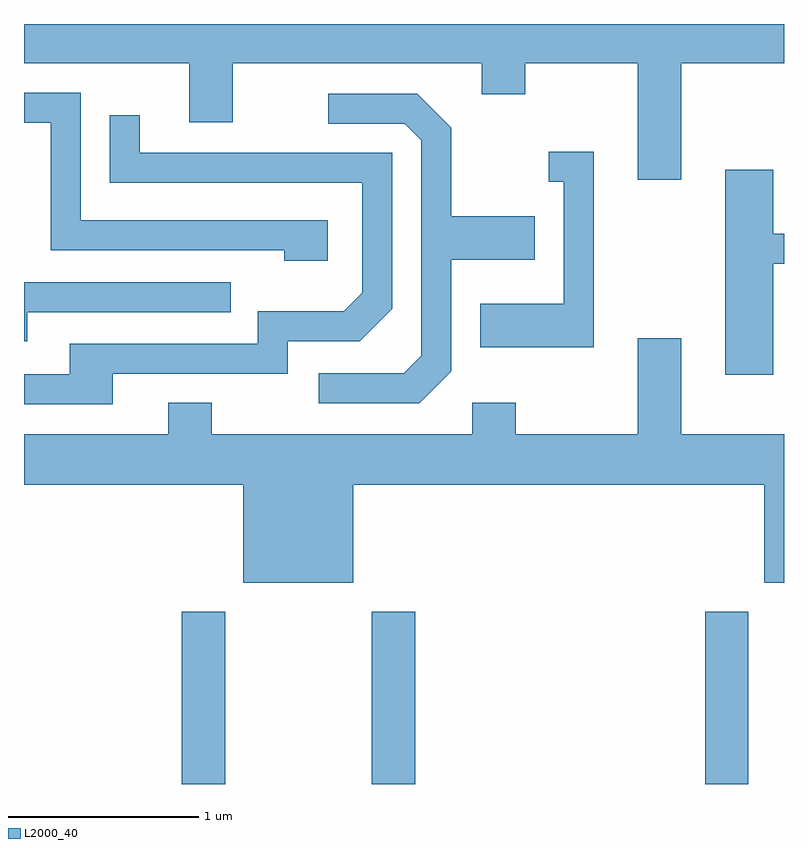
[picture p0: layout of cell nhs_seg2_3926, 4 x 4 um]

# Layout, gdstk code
import gdstk
lib = gdstk.Library(unit=1e-6, precision=1e-09)
def R(c, l, rs):  # rectangles x0, y0, x1, y1
    for r in rs: c.add(gdstk.rectangle(r[:2], r[2:], *l))
def P(c, l, *ps):  # polygons
    for p in ps: c.add(gdstk.Polygon(p, *l))
L2000_40 = (2000, 40)

nhs_seg2_3926 = lib.new_cell('nhs_seg2_3926')
R(nhs_seg2_3926, L2000_40, [(300.441,1097.802,300.669,1098.709), (301.441,1097.802,301.669,1098.709), (303.196,1097.802,303.424,1098.709)])
P(nhs_seg2_3926, L2000_40, [(303.069,1101.596),(303.611,1101.596),(303.611,1101.802),(299.611,1101.802),(299.611,1101.596),(300.481,1101.596),(300.481,1101.286),(300.709,1101.286),(300.709,1101.596),(302.021,1101.596),(302.021,1101.431),(302.249,1101.431),(302.249,1101.596),(302.841,1101.596),(302.841,1100.981),(303.069,1100.981)],
  [(301.209,1100.769),(299.909,1100.769),(299.909,1101.439),(299.611,1101.439),(299.611,1101.281),(299.751,1101.281),(299.751,1100.611),(300.981,1100.611),(300.981,1100.556),(301.209,1100.556)],
  [(301.859,1099.974),(301.859,1100.561),(302.299,1100.561),(302.299,1100.789),(301.859,1100.789),(301.859,1101.257),(301.682,1101.434),(301.213,1101.434),(301.213,1101.276),(301.614,1101.276),(301.701,1101.189),(301.701,1100.057),(301.609,1099.964),(301.163,1099.964),(301.163,1099.806),(301.692,1099.806)],
  [(300.079,1099.961),(300.999,1099.961),(300.999,1100.131),(301.377,1100.131),(301.549,1100.304),(301.549,1101.124),(300.219,1101.124),(300.219,1101.323),(300.061,1101.323),(300.061,1100.966),(301.391,1100.966),(301.391,1100.387),(301.294,1100.289),(300.841,1100.289),(300.841,1100.119),(299.851,1100.119),(299.851,1099.959),(299.611,1099.959),(299.611,1099.801),(300.079,1099.801)],
  [(302.609,1101.129),(302.373,1101.129),(302.373,1100.971),(302.451,1100.971),(302.451,1100.329),(302.011,1100.329),(302.011,1100.101),(302.609,1100.101)],
  [(303.554,1100.541),(303.611,1100.541),(303.611,1100.699),(303.554,1100.699),(303.554,1101.034),(303.301,1101.034),(303.301,1099.956),(303.554,1099.956)],
  [(299.629,1100.286),(300.698,1100.286),(300.698,1100.444),(299.611,1100.444),(299.611,1100.131),(299.629,1100.131)],
  [(301.344,1099.376),(303.506,1099.376),(303.506,1098.861),(303.611,1098.861),(303.611,1099.644),(303.069,1099.644),(303.069,1100.149),(302.841,1100.149),(302.841,1099.644),(302.199,1099.644),(302.199,1099.809),(301.971,1099.809),(301.971,1099.644),(300.599,1099.644),(300.599,1099.809),(300.371,1099.809),(300.371,1099.644),(299.611,1099.644),(299.611,1099.376),(300.766,1099.376),(300.766,1098.861),(301.344,1098.861)])

lib.write_gds('nhs_seg2_3926.gds')
